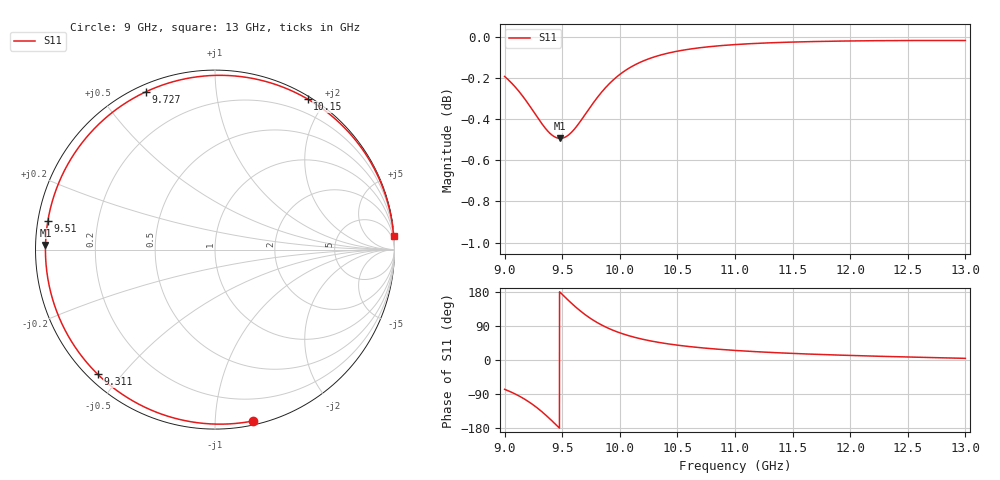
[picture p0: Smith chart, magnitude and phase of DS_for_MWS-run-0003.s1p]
! TOUCHSTONE file generated by CST DESIGN STUDIO
! Date and time: Tue Feb  4 16:39:51 2025
! Project name: C:\Work\MatlabApps\UnitCellOptimizationMatlab\CST\unitcell.cst
! Tree item: Tasks\Sweep1\SPara1\S-Parameters
! Header version: 2024
! Port assignment regex: !\s*Touchstone port\s*([0-9]+)\s*=\s*(CST MWS port|CST DES external port|CST DES block port)\s*(.+)\s* \(\"(.*)\"\)(\s*mode\s*([0-9]+))?.*
! Touchstone port assignment:
! Touchstone port 1 = CST DES external port 1 ("")
# GHz S MA R 50
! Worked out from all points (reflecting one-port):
!   4001 points, 9 GHz to 13 GHz, reference 50 ohm
!   lowest |S11| = -0.5 dB at 9.482 GHz (marker M1), VSWR 35.18, Z = 1.42 + j0.671 ohm
!   phase of S11 starts at -77 deg and turns -278 deg over the sweep
!   S11 on the Smith chart (normalised r, x): 9 GHz: 0.03, -1.25; 9.311 GHz: 0.03, -0.43; 9.51 GHz: 0.03, +0.09; 9.727 GHz: 0.03, +0.65; 10.15 GHz: 0.03, +1.79; 13 GHz: 1, +26
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9  0.9781 -77.4
9.079  0.9732 -87.8
9.177  0.9657 -103.9
9.246  0.9595 -117.9
9.311  0.9536 -133.3
9.356  0.9499 -145.1
9.404  0.9468 -158.5
9.444  0.9452 -170.2
9.482  0.9447 178.5
9.5  0.9448 173.1
9.51  0.945 170.1
9.562  0.9469 155.0
9.622  0.9509 138.5
9.674  0.9552 125.5
9.727  0.9599 113.6
9.782  0.9647 102.7
9.843  0.9696 92.2
9.92  0.9748 81.1
10  0.9792 71.7
10.147  0.9849 58.4
10.307  0.989 48.1
10.5  0.992 39.2
10.722  0.9941 31.8
11  0.9957 25.3
11.5  0.9971 17.4
12  0.9977 12.0
12.5  0.9979 7.9
13  0.9979 4.4
